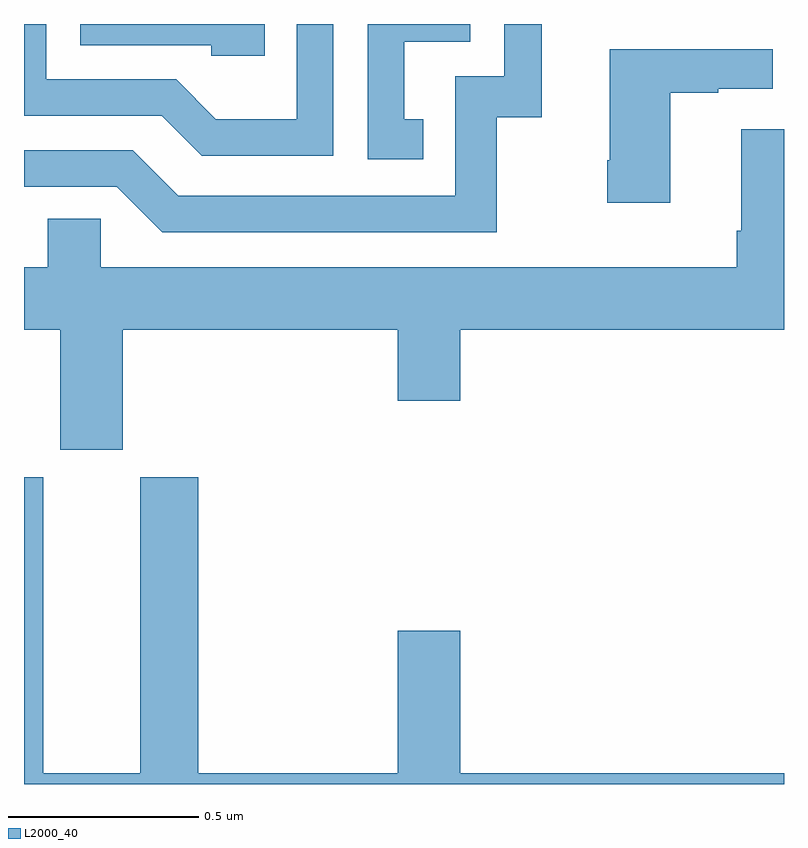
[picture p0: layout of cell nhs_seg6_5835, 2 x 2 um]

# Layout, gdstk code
import gdstk
lib = gdstk.Library(unit=1e-6, precision=1e-09)
def P(c, l, *ps):  # polygons
    for p in ps: c.add(gdstk.Polygon(p, *l))
L2000_40 = (2000, 40)

nhs_seg6_5835 = lib.new_cell('nhs_seg6_5835')
P(nhs_seg6_5835, L2000_40, [(189.05,921.249),(189.001,921.249),(189.001,921.453),(189.174,921.453),(189.174,921.5),(188.904,921.5),(188.904,921.144),(189.05,921.144)],
  [(189.244,921.255),(189.362,921.255),(189.362,921.5),(189.264,921.5),(189.264,921.363),(189.135,921.363),(189.135,921.048),(188.406,921.048),(188.286,921.168),(188,921.168),(188,921.072),(188.244,921.072),(188.364,920.952),(189.244,920.952)],
  [(188.814,921.5),(188.718,921.5),(188.718,921.25),(188.504,921.25),(188.4,921.354),(188.058,921.354),(188.058,921.5),(188,921.5),(188,921.258),(188.363,921.258),(188.468,921.153),(188.814,921.153)],
  [(188.633,921.5),(188.148,921.5),(188.148,921.444),(188.493,921.444),(188.493,921.417),(188.633,921.417)],
  [(189.7,921.319),(189.827,921.319),(189.827,921.329),(189.97,921.329),(189.97,921.433),(189.542,921.433),(189.542,921.142),(189.535,921.142),(189.535,921.03),(189.7,921.03)],
  [(188.26,920.696),(188.984,920.696),(188.984,920.508),(189.148,920.508),(189.148,920.696),(190,920.696),(190,921.223),(189.887,921.223),(189.887,920.956),(189.875,920.956),(189.875,920.86),(188.202,920.86),(188.202,920.987),(188.063,920.987),(188.063,920.86),(188,920.86),(188,920.696),(188.096,920.696),(188.096,920.379),(188.26,920.379)],
  [(190,919.528),(189.148,919.528),(189.148,919.903),(188.984,919.903),(188.984,919.528),(188.459,919.528),(188.459,920.307),(188.306,920.307),(188.306,919.528),(188.05,919.528),(188.05,920.307),(188,920.307),(188,919.5),(190,919.5)])

lib.write_gds('nhs_seg6_5835.gds')
